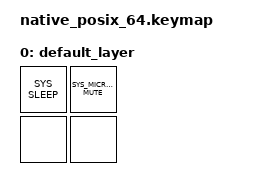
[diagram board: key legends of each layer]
#include <dt-bindings/zmk/keys.h>
#include <behaviors.dtsi>
#include <dt-bindings/zmk/kscan_mock.h>

&kscan {
    events = <
        ZMK_MOCK_PRESS(0, 0, 10)
        ZMK_MOCK_RELEASE(0, 0, 10)
        ZMK_MOCK_PRESS(0, 1, 10)
        ZMK_MOCK_RELEASE(0, 1, 10)
    >;
};

/ {
    keymap {
        compatible = "zmk,keymap";

        default_layer {
            bindings = <
                &kp SYS_SLEEP &kp SYS_MICROPHONE_MUTE
                &none &none
            >;
        };
    };
};
